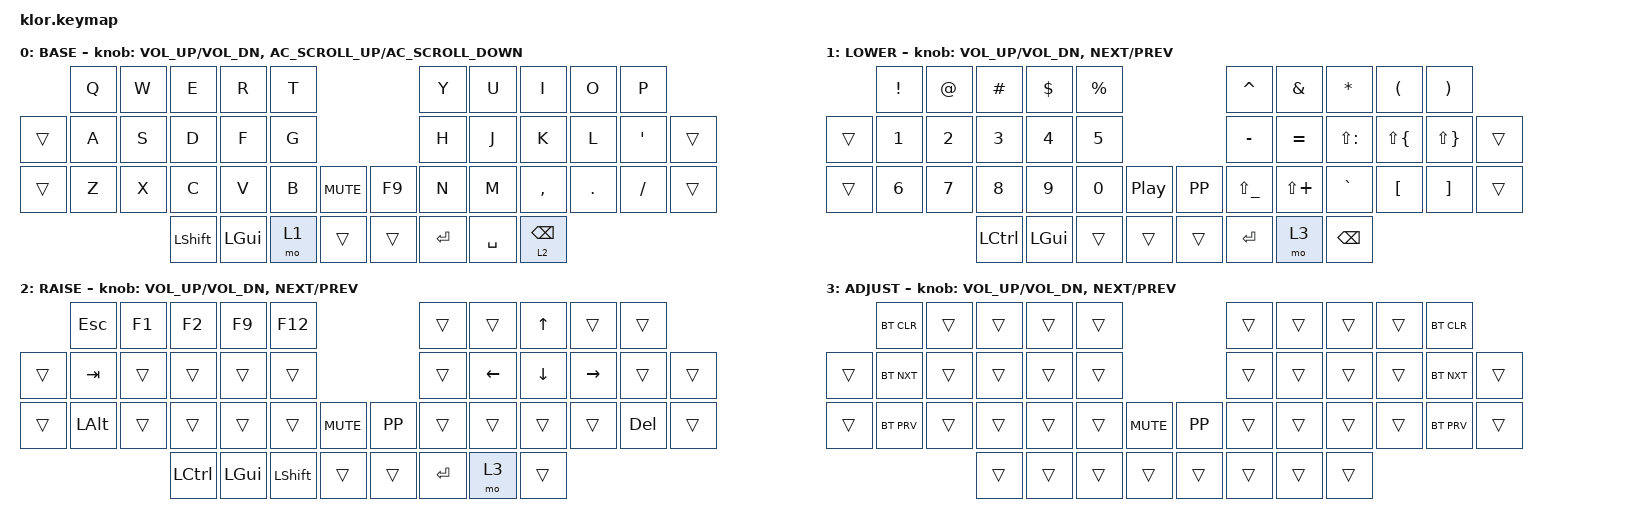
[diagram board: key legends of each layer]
//                               █         █    █            ▄▄▄▀▀▀▀▀▀▄▄▄        █▀▀▀▀▀▀▀▀▀▀█
//                               █        █     █          ▄▀            ▀▄      █          █
//                               █       █      █        ▄▀                ▀▄    █          █
//                               █      █       █        █                  █    █          █
//                               █     █        █       █                    █   █          █
//                               █    █         █       █                    █   █▄▄▄▄▄▄▄▄▄▄█
//                               █   █ █        █       █                    █   █      █
//                               █  █   █       █        █                  █    █       █
//                               █ █     █      █        ▀▄                ▄▀    █        █
//                               ██       █     █          ▀▄            ▄▀      █         █
//                               █         █    █▄▄▄▄▄▄▄▄    ▀▀▀▄▄▄▄▄▄▀▀▀        █          █
//
// ▄▄▄▄▄▄▄▄▄▄▄▄▄▄▄▄▄▄▄▄▄▄▄▄▄▄▄▄▄▄▄▄▄▄▄▄▄▄▄▄▄▄▄▄▄▄▄▄▄▄▄▄▄▄▄▄▄▄▄▄▄▄▄▄▄▄▄▄▄▄▄▄▄▄▄▄▄▄▄▄▄▄▄▄▄▄▄▄▄▄▄▄▄▄▄▄▄▄▄▄▄▄▄▄▄▄▄▄▄▄▄▄▄▄▄▄▄▄▄▄▄▄▄▄▄

#include <behaviors.dtsi>
#include <dt-bindings/zmk/bt.h>
#include <dt-bindings/zmk/keys.h>

#define BASE   0
#define RAISE  1
#define LOWER  2
#define ADJUST 3

&led_strip { chain-length = <21>; };

&sensors {
    left_encoder { triggers-per-rotation = <15>; };

    right_encoder { triggers-per-rotation = <15>; };
};

/ {
    combos { compatible = "zmk,combos"; };

    keymap {
        compatible = "zmk,keymap";

        // ▄▄▄▄▄▄▄▄▄▄▄▄▄▄▄▄▄▄▄▄▄▄▄▄▄▄▄▄▄▄▄▄▄▄▄▄▄▄▄▄▄▄▄▄▄▄▄▄▄▄▄▄▄▄▄▄▄▄▄▄▄▄▄▄▄▄▄▄▄▄▄▄▄▄▄▄▄▄▄▄▄▄▄▄▄▄▄▄▄▄▄▄▄▄▄▄▄▄▄▄▄▄▄▄▄▄▄▄▄▄▄▄▄▄▄▄▄▄▄▄▄▄▄▄▄▄▄▄▄▄▄▄▄▄▄▄▄▄▄▄▄▄

        ALPHA {
            // ┌───────────────────────────────────────────────────────────┐

            label = "BASE";

            // └───────────────────────────────────────────────────────────┘
            /*           ┌─────────┬─────────┬─────────┬─────────┬─────────┐                    ┌─────────┬─────────┬─────────┬─────────┬─────────┐
             │    Q    │    W    │    E    │    R    │    T    │                    │    Y    │    U    │    I    │    O    │    P    │   
   ┌─────────┼─────────┼─────────┼─────────┼─────────┼─────────┤                    ├─────────┼─────────┼─────────┼─────────┼─────────┼─────────┐
   │   TAB   │    A    │    S    │    D    │    F    │    G    │                    │    H    │    J    │    K    │    L    │    ;    │    '    │
   ├─────────┼─────────┼─────────┼─────────┼─────────┼─────────┤╭────────╮╭────────╮├─────────┼─────────┼─────────┼─────────┼─────────┼─────────┤
   │   CTRL  │    Z    │    X    │    C    │    V    │    B    ││  MUTE  ││PLY/PSE ││    N    │    M    │    ,    │    .    │    /    │    \    │
   └─────────┴─────────┴─────────┼─────────┼─────────┼─────────┼╰────────╯╰────────╯┼─────────┼─────────┼─────────┼─────────┴─────────┴─────────┘
                                 │  LALT   │  LOWER  │  RALT   │  SPACE  ││  BSPCE  │  ENTER  │  RAISE  │    DEL  │  
                                 └─────────┴─────────┴─────────┴─────────┘└─────────┴─────────┴─────────┴─────────┘ */

            bindings = <
        &kp Q  &kp W  &kp E           &kp R         &kp T                      &kp Y    &kp U      &kp I            &kp O    &kp P
&trans  &kp A  &kp S  &kp D           &kp F         &kp G                      &kp H    &kp J      &kp K            &kp L    &kp SINGLE_QUOTE  &trans
&trans  &kp Z  &kp X  &kp C           &kp V         &kp B  &kp C_MUTE  &kp F9  &kp N    &kp M      &kp COMMA        &kp DOT  &kp FSLH          &trans
                      &kp LEFT_SHIFT  &kp LEFT_GUI  &mo 1  &trans      &trans  &kp RET  &kp SPACE  &lt 2 BACKSPACE
            >;

            sensor-bindings = <&inc_dec_kp C_VOL_UP C_VOL_DN &inc_dec_kp C_AC_SCROLL_UP C_AC_SCROLL_DOWN>;
        };

        NUMB {
            // ┌───────────────────────────────────────────────────────────┐

            label = "LOWER";

            // └───────────────────────────────────────────────────────────┘
            /*           ┌─────────┬─────────┬─────────┬─────────┬─────────┐                    ┌─────────┬─────────┬─────────┬─────────┬─────────┐
             │   F1    │   F2    │   F3    │   F4    │   F5    │                    │   F6    │   F7    │   F8    │   F9    │   F10   │
   ┌─────────┼─────────┼─────────┼─────────┼─────────┼─────────┤                    ├─────────┼─────────┼─────────┼─────────┼─────────┼─────────┐
   │    -    │    !    │    @    │    #    │    $    │    %    │                    │    ^    │    &    │    `    │    ~    │    =    │    +    │
   ├─────────┼─────────┼─────────┼─────────┼─────────┼─────────┤╭────────╮╭────────╮├─────────┼─────────┼─────────┼─────────┼─────────┼─────────┤
   │    _    │    1    │    2    │    3    │    4    │    5    ││  MUTE  ││PLY/PASE││    6    │    7    │    8    │    9    │    0    │    *    │
   └─────────┴─────────┴─────────┼─────────┼─────────┼─────────┼╰────────╯╰────────╯┼─────────┼─────────┼─────────┼─────────┴─────────┴─────────┘
                                 │         │         │         │  LSHIFT ││  RSHIFT │         │         │         │  
                                 └─────────┴─────────┴─────────┴─────────┘└─────────┴─────────┴─────────┴─────────┘ */

            bindings = <
        &kp EXCLAMATION  &kp AT_SIGN  &kp HASH   &kp DOLLAR  &kp PERCENT                        &kp CARET      &kp AMPERSAND  &kp ASTERISK   &kp LEFT_PARENTHESIS  &kp RIGHT_PARENTHESIS
&trans  &kp N1           &kp N2       &kp N3     &kp N4      &kp N5                             &kp MINUS      &kp EQUAL      &kp LS(COLON)  &kp LS(LBRC)          &kp LS(RBRC)           &trans
&trans  &kp N6           &kp N7       &kp N8     &kp N9      &kp N0       &kp C_PP    &kp K_PP  &kp LS(UNDER)  &kp LS(PLUS)   &kp GRAVE      &kp LBKT              &kp RBKT               &trans
                                      &kp LCTRL  &kp LGUI    &trans       &trans      &trans    &kp ENTER      &mo 3          &kp BSPC
            >;

            sensor-bindings = <&inc_dec_kp C_VOL_UP C_VOL_DN &inc_dec_kp C_NEXT C_PREV>;
        };

        FUNC {
            // ┌───────────────────────────────────────────────────────────┐

            label = "RAISE";

            // └───────────────────────────────────────────────────────────┘
            /*           ┌─────────┬─────────┬─────────┬─────────┬─────────┐                    ┌─────────┬─────────┬─────────┬─────────┬─────────┐
             │ RGB_SPI │ RGB_HUI │         │         │    {    │                    │    }    │   LEFT  │   UP    │  RIGHT  │   HOME  │
   ┌─────────┼─────────┼─────────┼─────────┼─────────┼─────────┤                    ├─────────┼─────────┼─────────┼─────────┼─────────┼─────────┐
   │ RGB_BRI │ RGB_EFF │         │         │         │    [    │                    │    ]    │         │  DOWN   │         │  PSCRN  │  P UP   │
   ├─────────┼─────────┼─────────┼─────────┼─────────┼─────────┤╭────────╮╭────────╮├─────────┼─────────┼─────────┼─────────┼─────────┼─────────┤
   │ RGB_BRD │ RGB_SPD │ RGB_HUD │         │         │    (    ││  MUTE  ││PLY/PASE││    )    │         │         │         │   END   │ P DOWN  │
   └─────────┴─────────┴─────────┼─────────┼─────────┼─────────┼╰────────╯╰────────╯┼─────────┼─────────┼─────────┼─────────┴─────────┴─────────┘
                                 │         │         │         │  LSHIFT ││  RSHIFT │         │         │  ADJUST │  
                                 └─────────┴─────────┴─────────┴─────────┘└─────────┴─────────┴─────────┴─────────┘ */

            bindings = <
        &kp ESC   &kp F1  &kp F2     &kp F9    &kp F12                          &trans     &trans    &kp UP    &trans     &trans
&trans  &kp TAB   &trans  &trans     &trans    &trans                           &trans     &kp LEFT  &kp DOWN  &kp RIGHT  &trans   &trans
&trans  &kp LALT  &trans  &trans     &trans    &trans     &kp C_MUTE  &kp K_PP  &trans     &trans    &trans    &trans     &kp DEL  &trans
                          &kp LCTRL  &kp LGUI  &kp LSHFT  &trans      &trans    &kp ENTER  &mo 3     &trans
            >;

            sensor-bindings = <&inc_dec_kp C_VOL_UP C_VOL_DN &inc_dec_kp C_NEXT C_PREV>;
        };

        MOD {
            // ┌───────────────────────────────────────────────────────────┐

            label = "ADJUST";

            // └───────────────────────────────────────────────────────────┘
            /*           ┌─────────┬─────────┬─────────┬─────────┬─────────┐                    ┌─────────┬─────────┬─────────┬─────────┬─────────┐
             │ BT_CLR  │         │         │         │         │                    │         │         │         │         │ BT_CLR  │
   ┌─────────┼─────────┼─────────┼─────────┼─────────┼─────────┤                    ├─────────┼─────────┼─────────┼─────────┼─────────┼─────────┐
   │         │ BT_NXT  │         │         │         │         │                    │         │         │         │         │ BT_NXT  │         │
   ├─────────┼─────────┼─────────┼─────────┼─────────┼─────────┤╭────────╮╭────────╮├─────────┼─────────┼─────────┼─────────┼─────────┼─────────┤
   │         │ BT_PRV  │         │         │         │         ││  MUTE  ││PLY/PASE││         │         │         │         │ BT_PRV  │         │
   └─────────┴─────────┴─────────┼─────────┼─────────┼─────────┼╰────────╯╰────────╯┼─────────┼─────────┼─────────┼─────────┴─────────┴─────────┘
                                 │         │         │         │         ││         │         │         │         │  
                                 └─────────┴─────────┴─────────┴─────────┘└─────────┴─────────┴─────────┴─────────┘ */

            bindings = <
        &bt BT_CLR  &trans  &trans  &trans  &trans                        &trans  &trans  &trans  &trans  &bt BT_CLR
&trans  &bt BT_NXT  &trans  &trans  &trans  &trans                        &trans  &trans  &trans  &trans  &bt BT_NXT  &trans
&trans  &bt BT_PRV  &trans  &trans  &trans  &trans  &kp C_MUTE  &kp K_PP  &trans  &trans  &trans  &trans  &bt BT_PRV  &trans
                            &trans  &trans  &trans  &trans      &trans    &trans  &trans  &trans
            >;

            sensor-bindings = <&inc_dec_kp C_VOL_UP C_VOL_DN &inc_dec_kp C_NEXT C_PREV>;
        };
    };
};
